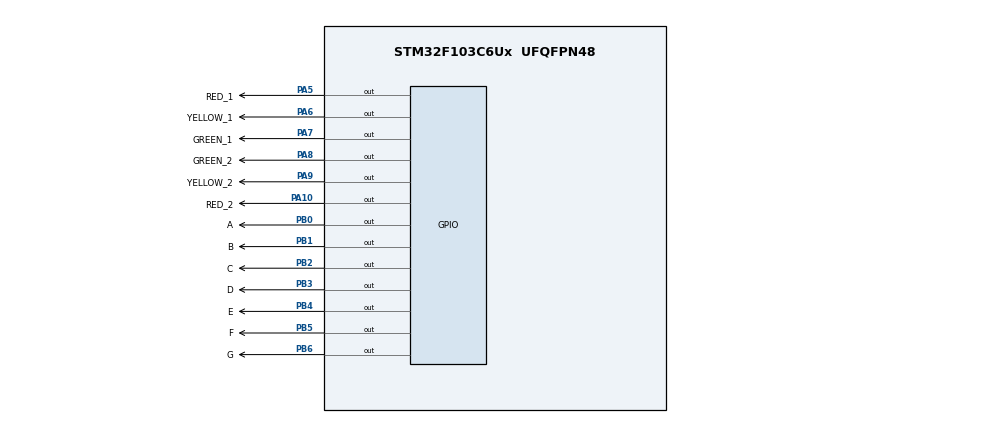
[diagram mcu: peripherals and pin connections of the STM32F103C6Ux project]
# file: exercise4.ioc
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Mcu.Family=STM32F1
Mcu.Name=STM32F103C6Ux
Mcu.Package=UFQFPN48
NVIC.PriorityGroup=NVIC_PRIORITYGROUP_4
PA10.GPIO_Label=RED_2
PA10.Signal=GPIO_Output
PA5.GPIO_Label=RED_1
PA5.Signal=GPIO_Output
PA6.GPIO_Label=YELLOW_1
PA6.Signal=GPIO_Output
PA7.GPIO_Label=GREEN_1
PA7.Signal=GPIO_Output
PA8.GPIO_Label=GREEN_2
PA8.Signal=GPIO_Output
PA9.GPIO_Label=YELLOW_2
PA9.Signal=GPIO_Output
PB0.GPIO_Label=A
PB0.Signal=GPIO_Output
PB1.GPIO_Label=B
PB1.Signal=GPIO_Output
PB2.GPIO_Label=C
PB2.Signal=GPIO_Output
PB3.GPIO_Label=D
PB3.Signal=GPIO_Output
PB4.GPIO_Label=E
PB4.Signal=GPIO_Output
PB5.GPIO_Label=F
PB5.Signal=GPIO_Output
PB6.GPIO_Label=G
PB6.Signal=GPIO_Output
ProjectManager.HeapSize=0x200
ProjectManager.StackSize=0x400
ProjectManager.TargetToolchain=STM32CubeIDE
RCC.APB1Freq_Value=8000000
RCC.APB2Freq_Value=8000000
VP_SYS_VS_ND.Mode=No_Debug
board=custom

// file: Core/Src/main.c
/* USER CODE BEGIN Header */
/**
  ******************************************************************************
  * @file           : main.c
  * @brief          : Main program body
  ******************************************************************************
  * @attention
  *
  * <h2><center>&copy; Copyright (c) 2025 STMicroelectronics.
  * All rights reserved.</center></h2>
  *
  * This software component is licensed by ST under BSD 3-Clause license,
  * the "License"; You may not use this file except in compliance with the
  * License. You may obtain a copy of the License at:
  *                        opensource.org/licenses/BSD-3-Clause
  *
  ******************************************************************************
  */
/* USER CODE END Header */
#include "main.h"

void SystemClock_Config(void);
static void MX_GPIO_Init(void);
/* USER CODE BEGIN PFP */
void display7SEG(int num);
/* USER CODE END PFP */

/* USER CODE BEGIN 0 */
const uint8_t seg_table[10] = {
		    0b0000001,
		    0b1001111,
		    0b0010010,
		    0b0000110,
		    0b1001100,
		    0b0100100,
		    0b0100000,
		    0b0001111,
		    0b0000000,
		    0b0000100
};
uint16_t seg_pins[7]={A_Pin, B_Pin, C_Pin, D_Pin, E_Pin, F_Pin, G_Pin};
/* USER CODE END 0 */

int main(void)
{

  /* MCU Configuration--------------------------------------------------------*/

  /* Reset of all peripherals, Initializes the Flash interface and the Systick. */
  HAL_Init();

  /* Configure the system clock */
  SystemClock_Config();

  /* Initialize all configured peripherals */
  MX_GPIO_Init();

  /* Infinite loop */
  /* USER CODE BEGIN WHILE */
  int counter =0;
   /* Infinite loop */
   /* USER CODE BEGIN WHILE */
   while (1)
   {
    /* USER CODE END WHILE */
	   if (counter < 3) {
	   	          // Hướng 2 xanh, Hướng 1 đỏ
	   	          HAL_GPIO_WritePin(RED_1_GPIO_Port, RED_1_Pin, RESET);
	   	          HAL_GPIO_WritePin(YELLOW_1_GPIO_Port, YELLOW_1_Pin, SET);
	   	          HAL_GPIO_WritePin(GREEN_1_GPIO_Port, GREEN_1_Pin, SET);

	   	          HAL_GPIO_WritePin(RED_2_GPIO_Port, RED_2_Pin, SET);
	   	          HAL_GPIO_WritePin(YELLOW_2_GPIO_Port, YELLOW_2_Pin, SET);
	   	          HAL_GPIO_WritePin(GREEN_2_GPIO_Port, GREEN_2_Pin, RESET);
	   	      }
	   	      else if (counter <5) {
	   	          // Hướng 2 vàng, Hướng 1 đỏ
	   	          HAL_GPIO_WritePin(RED_1_GPIO_Port, RED_1_Pin, RESET);
	   	          HAL_GPIO_WritePin(YELLOW_1_GPIO_Port, YELLOW_1_Pin, SET);
	   	          HAL_GPIO_WritePin(GREEN_1_GPIO_Port, GREEN_1_Pin, SET);

	   	          HAL_GPIO_WritePin(RED_2_GPIO_Port, RED_2_Pin, SET);
	   	          HAL_GPIO_WritePin(YELLOW_2_GPIO_Port, YELLOW_2_Pin, RESET);
	   	          HAL_GPIO_WritePin(GREEN_2_GPIO_Port, GREEN_2_Pin, SET);
	   	      }
	   	      else if (counter <8) {
	   	          // Hướng 2 đỏ, Hướng 1 xanh
	   	          HAL_GPIO_WritePin(RED_1_GPIO_Port, RED_1_Pin, SET);
	   	          HAL_GPIO_WritePin(YELLOW_1_GPIO_Port, YELLOW_1_Pin, SET);
	   	          HAL_GPIO_WritePin(GREEN_1_GPIO_Port, GREEN_1_Pin, RESET);

	   	          HAL_GPIO_WritePin(RED_2_GPIO_Port, RED_2_Pin, RESET);
	   	          HAL_GPIO_WritePin(YELLOW_2_GPIO_Port, YELLOW_2_Pin, SET);
	   	          HAL_GPIO_WritePin(GREEN_2_GPIO_Port, GREEN_2_Pin, SET);
	   	      }
	   	      else if(counter <10){
	   	    	  // Hướng 2 đỏ, Hướng 1 vàng
	   	    	  HAL_GPIO_WritePin(RED_1_GPIO_Port, RED_1_Pin, SET);
	   	    	  HAL_GPIO_WritePin(YELLOW_1_GPIO_Port, YELLOW_1_Pin, RESET);
	   	    	  HAL_GPIO_WritePin(GREEN_1_GPIO_Port, GREEN_1_Pin, SET);

	   	    	  HAL_GPIO_WritePin(RED_2_GPIO_Port, RED_2_Pin, RESET);
	   	    	  HAL_GPIO_WritePin(YELLOW_2_GPIO_Port, YELLOW_2_Pin, SET);
	   	    	  HAL_GPIO_WritePin(GREEN_2_GPIO_Port, GREEN_2_Pin, SET);
	   	      }

	   HAL_Delay(1000);
	   counter++;
	   if(counter >= 10) counter = 0;
	   display7SEG(counter);
  }
}

void SystemClock_Config(void)
{
  RCC_OscInitTypeDef RCC_OscInitStruct = {0};
  RCC_ClkInitTypeDef RCC_ClkInitStruct = {0};

  /** Initializes the RCC Oscillators according to the specified parameters
  * in the RCC_OscInitTypeDef structure.
  */
  RCC_OscInitStruct.OscillatorType = RCC_OSCILLATORTYPE_HSI;
  RCC_OscInitStruct.HSIState = RCC_HSI_ON;
  RCC_OscInitStruct.HSICalibrationValue = RCC_HSICALIBRATION_DEFAULT;
  RCC_OscInitStruct.PLL.PLLState = RCC_PLL_NONE;
  if (HAL_RCC_OscConfig(&RCC_OscInitStruct) != HAL_OK)
  {
    Error_Handler();
  }
  /** Initializes the CPU, AHB and APB buses clocks
  */
  RCC_ClkInitStruct.ClockType = RCC_CLOCKTYPE_HCLK|RCC_CLOCKTYPE_SYSCLK
                              |RCC_CLOCKTYPE_PCLK1|RCC_CLOCKTYPE_PCLK2;
  RCC_ClkInitStruct.SYSCLKSource = RCC_SYSCLKSOURCE_HSI;
  RCC_ClkInitStruct.AHBCLKDivider = RCC_SYSCLK_DIV1;
  RCC_ClkInitStruct.APB1CLKDivider = RCC_HCLK_DIV1;
  RCC_ClkInitStruct.APB2CLKDivider = RCC_HCLK_DIV1;

  if (HAL_RCC_ClockConfig(&RCC_ClkInitStruct, FLASH_LATENCY_0) != HAL_OK)
  {
    Error_Handler();
  }
}

static void MX_GPIO_Init(void)
{
  GPIO_InitTypeDef GPIO_InitStruct = {0};

  /* GPIO Ports Clock Enable */
  __HAL_RCC_GPIOA_CLK_ENABLE();
  __HAL_RCC_GPIOB_CLK_ENABLE();

  /*Configure GPIO pin Output Level */
  HAL_GPIO_WritePin(GPIOA, RED_1_Pin|YELLOW_1_Pin|GREEN_1_Pin|GREEN_2_Pin
                          |YELLOW_2_Pin|RED_2_Pin, GPIO_PIN_RESET);

  /*Configure GPIO pin Output Level */
  HAL_GPIO_WritePin(GPIOB, G_Pin|B_Pin|C_Pin|D_Pin
                          |E_Pin|F_Pin, GPIO_PIN_RESET);
 HAL_GPIO_WritePin(GPIOB, A_Pin,GPIO_PIN_SET);

  /*Configure GPIO pins : RED_1_Pin YELLOW_1_Pin GREEN_1_Pin GREEN_2_Pin
                           YELLOW_2_Pin RED_2_Pin */
  GPIO_InitStruct.Pin = RED_1_Pin|YELLOW_1_Pin|GREEN_1_Pin|GREEN_2_Pin
                          |YELLOW_2_Pin|RED_2_Pin;
  GPIO_InitStruct.Mode = GPIO_MODE_OUTPUT_PP;
  GPIO_InitStruct.Pull = GPIO_NOPULL;
  GPIO_InitStruct.Speed = GPIO_SPEED_FREQ_LOW;
  HAL_GPIO_Init(GPIOA, &GPIO_InitStruct);

  /*Configure GPIO pins : A_Pin B_Pin C_Pin D_Pin
                           E_Pin F_Pin G_Pin */
  GPIO_InitStruct.Pin = A_Pin|B_Pin|C_Pin|D_Pin
                          |E_Pin|F_Pin|G_Pin;
  GPIO_InitStruct.Mode = GPIO_MODE_OUTPUT_PP;
  GPIO_InitStruct.Pull = GPIO_NOPULL;
  GPIO_InitStruct.Speed = GPIO_SPEED_FREQ_LOW;
  HAL_GPIO_Init(GPIOB, &GPIO_InitStruct);

}

/* USER CODE BEGIN 4 */
void display7SEG(int num){
	uint8_t pattern= seg_table[num];
	for(int i=0; i< 7; i++){
		if( pattern & (1<<i) )
			HAL_GPIO_WritePin(GPIOB, seg_pins[i], SET);
		else
			HAL_GPIO_WritePin(GPIOB, seg_pins[i], RESET);
	}
}
/* USER CODE END 4 */

void Error_Handler(void)
{
  __disable_irq();
  while (1)
  {
  }
}

/************************ (C) COPYRIGHT STMicroelectronics *****END OF FILE****/
